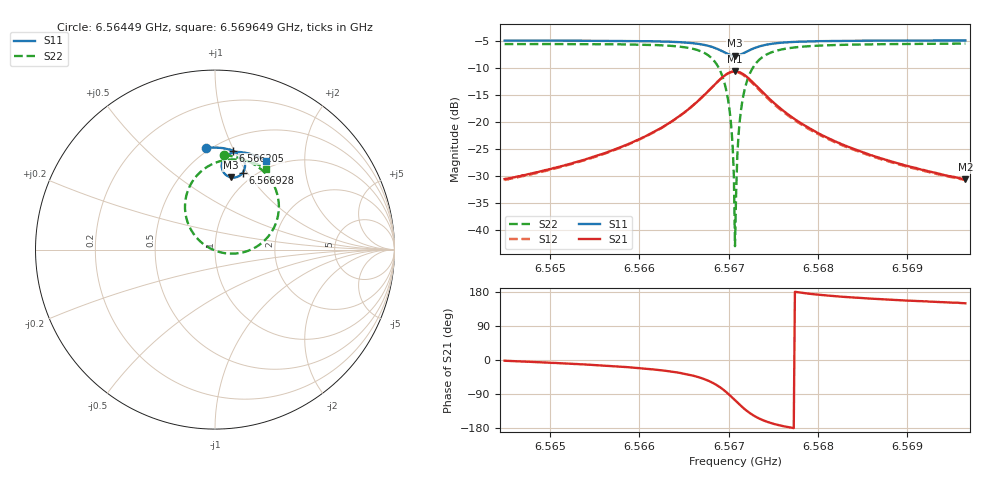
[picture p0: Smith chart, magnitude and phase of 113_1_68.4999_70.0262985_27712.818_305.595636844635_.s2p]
#  HZ  S  RI  R  50.00
! Rohde & Schwarz Vector Network Analyzer
! Rohde-Schwarz,ZNB20-2Port,1311601062101988,3.16
! Created: UTC 3/20/2024, 4:53:38 PM
! freq[Hz]  re:S11  im:S11  re:S21  im:S21  re:S12  im:S12  re:S22  im:S22
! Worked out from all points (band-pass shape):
!   401 points, 6.56449 GHz to 6.569649 GHz, reference 50 ohm
!   highest |S21| = -10.59 dB at 6.56707 GHz (marker M1); lowest = -30.6 dB at 6.569649 GHz (marker M2)
!   |S21| within 3 dB of the highest: 6.566811 GHz to 6.567327 GHz (516.4 kHz wide, 0.00786 % of centre)
!   lowest |S11| = -7.7 dB at 6.56707 GHz (marker M3), VSWR 2.40, Z = 41.7 + j40.5 ohm
!   |S11| at or under -10 dB: nowhere
!   |S22| runs from -43.0 to -5.4 dB; largest |S21 - S12| = 0.015
!   S11 on the Smith chart (normalised r, x): 6.56449 GHz: 0.47, +0.79; 6.566205 GHz: 0.62, +0.99; 6.566928 GHz: 0.88, +0.95; 6.569649 GHz: 0.89, +1.31
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6.5644898e9  -0.052 0.567  0.0297 -0.00098  0.029 -0.00153  0.0504 0.5261
6.565354e9  0.0198 0.5677  0.0432 -0.00883  0.0425 -0.00931  0.1348 0.511
6.5662053e9  0.1016 0.5507  0.0763 -0.0374  0.0752 -0.0383  0.2533 0.4506
6.5662182e9  0.103 0.5502  0.0771 -0.0383  0.0759 -0.0392  0.2557 0.4486
6.5667213e9  0.1628 0.4941  0.1132 -0.1354  0.1106 -0.1383  0.3552 0.2595
6.5668374e9  0.167 0.4599  0.1019 -0.1954  0.0967 -0.1993  0.3384 0.1451
6.5669276e9  0.1536 0.4267  0.0614 -0.2521  0.0522 -0.2553  0.2636 0.0394
6.567005e9  0.1228 0.4046  -0.00848 -0.2867  -0.0211 -0.2859  0.1346 -0.0197
6.5670308e9  0.1091 0.4016  -0.0376 -0.2899  -0.0507 -0.287  0.0819 -0.0226
6.5670437e9  0.102 0.4011  -0.0525 -0.2894  -0.0657 -0.2852  0.0551 -0.0201
6.5670566e9  0.0947 0.4016  -0.0674 -0.2873  -0.0806 -0.282  0.0287 -0.0146
6.5670695e9  0.0876 0.4029  -0.0821 -0.2839  -0.095 -0.2773  0.0029 -0.00646
6.5670953e9  0.074 0.4076  -0.1105 -0.2725  -0.1221 -0.2638  -0.0454 0.0174
6.5671082e9  0.0678 0.411  -0.1233 -0.2649  -0.1341 -0.2553  -0.0671 0.0327
6.5671211e9  0.062 0.4152  -0.1353 -0.2563  -0.1453 -0.2458  -0.0866 0.0497
6.5671469e9  0.0521 0.4248  -0.1557 -0.2363  -0.1638 -0.2246  -0.1194 0.0875
6.5671985e9  0.04 0.4473  -0.1823 -0.1913  -0.1862 -0.179  -0.158 0.1701
6.567263e9  0.0376 0.4748  -0.1921 -0.1377  -0.1923 -0.1267  -0.1659 0.2648
6.5675081e9  0.076 0.5302  -0.1472 -0.0289  -0.1439 -0.0245  -0.0625 0.448
6.5679337e9  0.1389 0.5433  -0.0842 0.00875  -0.0822 0.0101  0.0778 0.5015
6.568798e9  0.2216 0.5245  -0.041 0.0156  -0.04 0.0158  0.2093 0.4853
6.5696493e9  0.2855 0.4946  -0.0255 0.015  -0.025 0.0148  0.2866 0.4508
